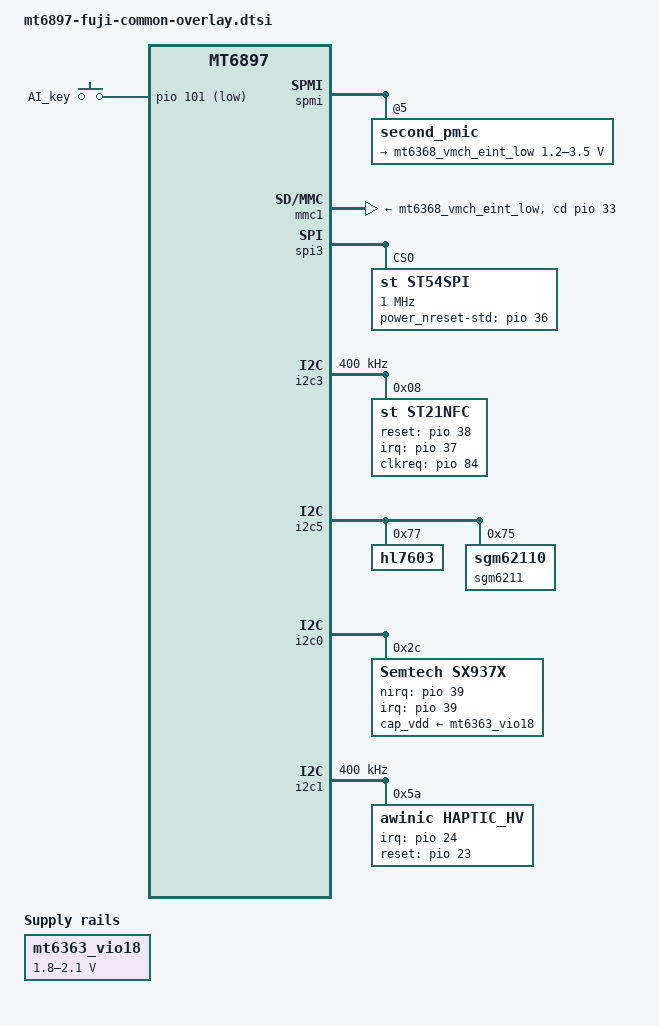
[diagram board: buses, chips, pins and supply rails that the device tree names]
/* Copyright (c) 2023, Motorola Mobility Inc. All rights reserved.
 *
 * This program is free software; you can redistribute it and/or modify
 * it under the terms of the GNU General Public License version 2 and
 * only version 2 as published by the Free Software Foundation.
 *
 * This program is distributed in the hope that it will be useful,
 * but WITHOUT ANY WARRANTY; without even the implied warranty of
 * MERCHANTABILITY or FITNESS FOR A PARTICULAR PURPOSE.  See the
 * GNU General Public License for more details.
 */

#include "mediatek/mt6897-moto-common-overlay-single-panel.dtsi"

#include "mediatek/fuji-charger.dtsi"
#include "mediatek/cybert-fps.dtsi"
#include "mediatek/cybert-ntc.dtsi"
#include "mediatek/fuji-display.dtsi"
#include "mediatek/fuji-touch.dtsi"
#include "mediatek/fuji-audio.dtsi"
#include <dt-bindings/gpio/gpio.h>

&rt5133 {
	status = "disabled";
};

&regulator_vibrator {
	status = "disabled";
};

&spmi {
	second_pmic@5 {
		regulators {
			mt6368_vmch_eint_low: vmch-eint-low {
				regulator-compatible = "VMCH_EINT_LOW";
				regulator-name = "mt6368_vmch_eint_low";
				regulator-min-microvolt = <1200000>;
				regulator-max-microvolt = <3500000>;
				regulator-enable-ramp-delay = <680>;
				regulator-allowed-modes = <0 2>;
			};
		};
	};
};

&mmc1 {
       status = "ok";
       cd-gpios = <&pio 33 GPIO_ACTIVE_HIGH>;
       vmmc-supply = <&mt6368_vmch_eint_low>;
       ocr-voltage = <0x00030000>;
};

&mmc2 {
       status = "disabled";
};

&pio {
	nfc_spi_cs_mode_spi: nfc_spi_cs_mode_spi {
		pins_cmd_dat {
			pinmux = <PINMUX_GPIO28__FUNC_SPI3_CSB>;
			bias-disable;
		};
	};

	nfc_spi_cs_mode_idle: nfc_spi_cs_mode_idle {
		pins_cmd_dat {
			pinmux = <PINMUX_GPIO28__FUNC_GPIO28>;
			bias-disable;
		};
	};
};


&spi3 {
	st54spi: st54spi@0 {
		compatible = "st,st54spi";
		reg = <0>;
		spi-max-frequency = <1000000>;
		gpio-power_nreset = <36>;
		gpio-power_nreset-std = <&pio 36 0x00>;
		power_mode = "ST54J";
		bootmode = <&chosen>;
		pinctrl-names = "pinctrl_state_mode_spi",
				"pinctrl_state_mode_idle";
		pinctrl-0 = <&nfc_spi_cs_mode_spi>;
		pinctrl-1 = <&nfc_spi_cs_mode_idle>;
		status = "okay";
	};
};

&i2c3 {
	status = "ok";
	clock-frequency = <400000>;
	st21nfc: st21nfc@0x08 {
		compatible = "st,st21nfc";
		reg = <0x08>;
		interrupt-parent = <&pio>;
		interrupts = <37 0>;
		bootmode = <&chosen>;
		reset-gpios = <&pio 38 0x00>;
		irq-gpios = <&pio 37 0x00>;
		clkreq-gpios = <&pio 84 0x00>;
		status = "ok";
	};
};

&pio {
	sar_int_default: sar_int_default {
		pins_cmd_dat {
			pinmux = <PINMUX_GPIO39__FUNC_GPIO39>;
			input-enable;
			drive-strength = <2>;
			bias-pull-up;
		};
	};

	sar_int_sleep: sar_int_sleep {
		pins_cmd_dat {
			pinmux = <PINMUX_GPIO39__FUNC_GPIO39>;
			input-enable;
			drive-strength = <2>;
			bias-pull-up;
		};
	};
	gpio1_input_pull_up: gpio1_input_pull_up {
		pins_cmd_dat {
			pinmux = <PINMUX_GPIO24__FUNC_GPIO24>;
			slew-rate = <0>;
			bias-pull-up = <00>;
		};
	};
};

&therm_intf {
	/*Vsensor name should be CASE DIFFERENT with the name in config file*/
	mmi,temperature-names = "BACK_TEMP", "FRONT_TEMP";/*for "back_temp" in config file*/
};

&rt6160_bus5{
	status = "disabled";
};
&i2c5 {
	hl7603@77 {
		status = "ok";
		compatible = "hl7603";
		reg = <0x77>;
		/* hl7603_vout_voltage = <0x0B>; //3.4v */
	};
	sgm6211@75 {
		status = "ok";
		compatible = "sgm62110";
		reg = <0x75>;
	};
};

&mt6363_vio18 {
	regulator-min-microvolt = <1800000>;
	regulator-max-microvolt = <2100000>;
};

&i2c0 {
	status = "ok";

	sx937x: sx937x@2c { /* SAR sensor */
		compatible = "Semtech,sx937x";
		reg = <0x2c>;
		Semtech,power-supply-type = <0>;
		cap_vdd-supply = <&mt6363_vio18>;
		pinctrl-names = "default","sleep";
		pinctrl-0 = <&sar_int_default>;
		pinctrl-1 = <&sar_int_sleep>;
		interrupt-parent = <&pio>;
		interrupts = <39 0x02>;
		interrupt-names = "sx937x_irq";
		Semtech,nirq-gpio= <&pio 39 0x02>;
		esd-reinit-on = <1>;
		/*use PH5/6 as the reference sensor
		set it to 0xff if the ref-phases-x is not used*/
		Semtech,ref-phases-a = <4>;
		Semtech,ref-phases-b = <5>;
		Semtech,ref-phases-c = <6>;
		Semtech,button-flag = <0x0f>;
		Semtech,reg-num = <59>;
		Semtech,reg-init = <
			0x8024 0x00007F00
			0x4004 0x00000074
			0x4008 0x00000008
			0x8020 0x00000032
			0x8028 0x0000085E    /*AFE_PARAM_PH0*/
			0x8034 0x0000085E    /*AFE_PARAM_PH1*/
			0x8040 0x0000085E    /*AFE_PARAM_PH2*/
			0x804C 0x0000085E    /*AFE_PARAM_PH3*/
			0x8058 0x0000085E    /*AFE_PARAM_PH4*/
			0x8064 0x0000085E    /*AFE_PARAM_PH5*/
			0x8070 0x0000085E    /*AFE_PARAM_PH6*/
			0x807C 0x0000085E    /*AFE_PARAM_PH7*/
			/*set CS3 to HZ, because it used as IRQ pin*/
			0x8030 0x00924925    /*REG_AFEPH_PH0, CS0, ANT0*/
			0x803C 0x0092C924    /*REG_AFEPH_PH1, CS5, ANT1*/
			0x8048 0x00964924    /*REG_AFEPH_PH2, CS6, ANT3/4/5*/
			0x8054 0x00B24924    /*REG_AFEPH_PH3, CS7, ANT2*/
			0x8060 0x0092492C    /*REG_AFEPH_PH4, CS1, ANT0_REF*/
			0x806C 0x00924964    /*REG_AFEPH_PH5, CS2, ANT3/4/5 REF*/
			0x8078 0x00925924    /*REG_AFEPH_PH6, CS4, ANT1 REF*/
			0x8084 0x00B24924    /*REG_AFEPH_PH7, NOT USE*/
			0x8098 0x00006239
			0x80B8 0x00005130
			0x80D8 0x00004630
			0x80F8 0x00002525
			0x8118 0x000000FF
			0x8138 0x000000FF
			0x8158 0x000000FF
			0x8178 0x000000FF
			0x80A0 0x1D1D0001
			0x80C0 0x1D1D0003
			0x80E0 0x5F5F0002
			0x8100 0x24240001
			0x8188 0x08000004
			0x818C 0x08000005
			0x8190 0x08000006
			0x8090 0x54AC5000
			0x80B0 0x34CC5000
			0x80D0 0x54AC5000
			0x80F0 0x30D05000
			0x8110 0x54AC5000
			0x8130 0x54AC5000
			0x8150 0x54AC5000
			0x8170 0x54AC5000
			0x8088 0x00300000
			0x80A8 0x00300000
			0x80C8 0x00300000
			0x80E8 0x00300000
			0x8108 0x06300000
			0x8128 0x06300000
			0x8148 0x06300000
			0x8168 0x06300000
			0x808C 0x60200030
			0x80AC 0x60200030
			0x80CC 0x60200030
			0x80EC 0x60200030
			0x810C 0x60200030
			0x812C 0x60200030
			0x814C 0x60200030
			0x816C 0x60200030
		>;
		status = "okay";
	};
};

&i2c1 {
	clock-frequency = <400000>;
	status = "okay";
	haptic_hv@5A {
		status = "okay";
		compatible = "awinic,haptic_hv";
		reg = <0x5A>;
		irq-gpio = <&pio 24 0>;
		reset-gpio = <&pio 23 0>;
		pinctrl-names = "irq_active";
		pinctrl-0 = <&gpio1_input_pull_up>;
		f0_pre = < 1700 >;
		mode = /bits/ 8 < 5 >;

		aw8693x_f0_cali_percent = /bits/ 8 < 15 >;
		aw8693x_gain_bypass = /bits/ 8 < 1 >;
		aw8693x_uvlo_vol_default = /bits/ 8 < 0 >;
		aw8693x_cont_smart_loop = /bits/ 8 < 0 >;
		aw8693x_cont_drv1_lvl = /bits/ 8 < 0x7F >;
		aw8693x_cont_lra_vrms = < 1000 >;
		aw8693x_cont_drv1_time = /bits/ 8 < 0x04 >;
		aw8693x_cont_drv2_time = /bits/ 8 < 0x14 >;
		aw8693x_cont_track_margin = /bits/ 8 < 0x0F >;
		aw8693x_cont_brk_gain = /bits/ 8 < 0x08 >;
		aw8693x_cont_brk_time = /bits/ 8 < 0x08 >;
		aw8693x_duration_time = /bits/ 8 < 34 67 101 >;
		aw8693x_d2s_gain = /bits/ 8 < 0x04 >;
		aw8693x_trig_config = /bits/ 8 < 0 0 0 1 0 2 0 0
						 0 0 0 1 0 2 0 0
						 0 0 0 1 0 2 0 0 >;
		aw8693x_bst_vol_default = < 8500 >;
		aw8693x_is_enabled_track_en;
		/* aw8693x_is_enabled_auto_bst; */
		/* aw8693x_is_enabled_one_wire; */
	};

};

&u2port0{
        mediatek,eye-vrt = <0x65>;
        mediatek,eye-vrt-host = <0x65>;
        mediatek,eye-term = <0x64>;
        mediatek,eye-term-host = <0x64>;
        mediatek,rev6 = <0xa>;
        mediatek,rev6-host = <0xa>;
};

/*vol+/- keys swap*/
&mt6363keys {
	home {
		linux,keycodes = <114>;
	};
};

/* KEY GPIO standardization start */
&pio{
	aikey_gpio_default:key-default {
		ai_key_int {
			pinmux = <PINMUX_GPIO101__FUNC_GPIO101>;
			input-enable;
			bias-pull-up;
		};
	};
};
/* KEY GPIO standardization end */
&gpio_keys {
	status = "okay";
	pinctrl-names = "default";
	pinctrl-0 = <&aikey_gpio_default>;
	aikey {
		label = "AI_key";
		linux,code = <583>;
		linux,input-type = <1>;
		gpios = <&pio 101 1>;
		wakeup-source;
		debounce-interval = <30>;
	};
};

&low_battery_throttling {
        thd-volts-l = <
                3369 3243 3133
                3772 3412 3277
                4231 3753 3570>;
        thd-volts-h = <
                3469 3369 3243
                3872 3772 3412
                4331 4231 3753>;
        lvsys-thd-volt-l = <3133>;
        lvsys-thd-volt-h = <3243>;
};

&cpu_power_throttling {
        lbat-limit-freq-lv2 = < 1800000  1800000 1800000>;
        lbat-limit-freq-lv3 = < 1200000  1200000 1200000>;
};

&gpu_power_throttling {
        lbat-limit-freq = <1200000 700000 600000>;
};

&bp_thl {
        soc-limit-threshold = <5>;
};

&mt6375_batoc_throttle {
        status = "disabled";
};

&md_power_throttling {
        lbat-max-level = <3>;
        lbat-reduce-tx-lv1 = <0>;
        lbat-reduce-tx-lv2 = <0>;
        lbat-reduce-tx-lv3 = <0>;

        oc-max-level = <2>;
        oc-reduce-tx-lv1 = <0>;
        oc-reduce-tx-lv2 = <0>;

        soc-max-level = <1>;
        soc-reduce-tx-lv1 = <6>;
};

